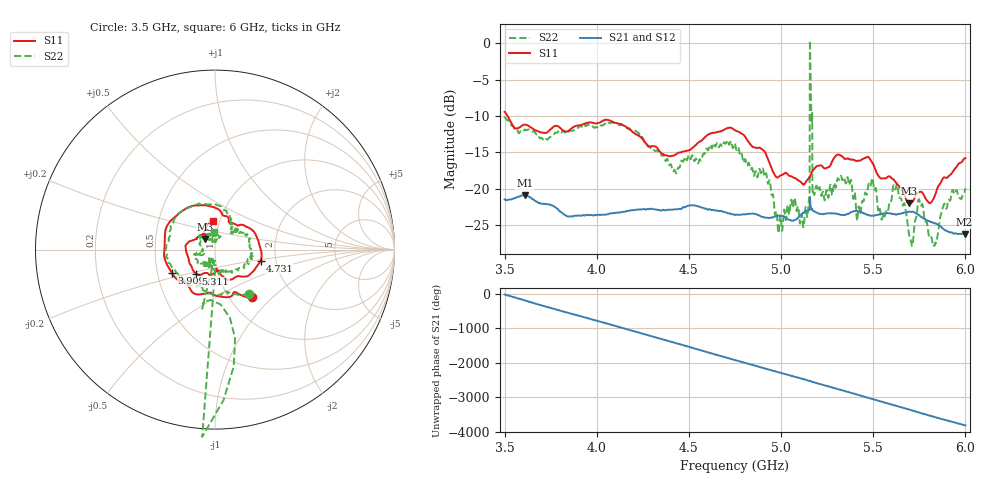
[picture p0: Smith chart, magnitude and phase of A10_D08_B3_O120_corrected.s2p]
! Created with skrf 1.9.0 (http://scikit-rf.org).
# Hz S RI R 50.0
!freq ReS11 ImS11 ReS21 ImS21 ReS12 ImS12 ReS22 ImS22
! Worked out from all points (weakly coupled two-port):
!   1601 points, 3.5 GHz to 6 GHz, reference 50 ohm
!   highest |S21| = -20.88 dB at 3.609 GHz (marker M1); lowest = -26.3 dB at 5.995 GHz (marker M2)
!   lowest |S11| = -22.0 dB at 5.695 GHz (marker M3), VSWR 1.17, Z = 44.7 + j5.27 ohm
!   |S11| at or under -10 dB: 3.516 GHz to end of sweep
!   |S22| runs from -27.9 to 0.4 dB; largest |S21 - S12| = 0.0012
!   S11 on the Smith chart (normalised r, x): 3.5 GHz: 1.27, -0.76; 3.909 GHz: 0.60, -0.17; 4.731 GHz: 1.66, -0.22; 5.311 GHz: 0.78, -0.22; 6 GHz: 0.93, +0.31
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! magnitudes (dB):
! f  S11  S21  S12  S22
! 3.5 GHz  -9.4  -21.5  -21.5  -10.1
! 3.609 GHz  -11.2  -20.9  -20.9  -11.8
! 3.909 GHz  -11.3  -23.7  -23.7  -11.3
! 3.917 GHz  -11.2  -23.7  -23.7  -11.5
! 4.334 GHz  -14.6  -22.9  -22.9  -14.9
! 4.731 GHz  -11.7  -23.5  -23.5  -13.6
! 4.75 GHz  -12.0  -23.6  -23.5  -13.8
! 4.911 GHz  -14.9  -23.9  -23.9  -18.3
! 4.995 GHz  -18.2  -23.7  -23.7  -23.7
! 5.133 GHz  -19.1  -23.1  -23.1  -22.5
! 5.167 GHz  -17.7  -22.8  -22.7  -10.5
! 5.183 GHz  -17.2  -23.1  -23.1  -20.6
! 5.311 GHz  -15.3  -23.5  -23.5  -18.7
! 5.42 GHz  -16.2  -23.1  -23.2  -22.4
! 5.487 GHz  -16.1  -23.7  -23.7  -19.4
! 5.584 GHz  -18.3  -23.4  -23.4  -22.4
! 5.623 GHz  -19.1  -23.6  -23.6  -19.8
! 5.695 GHz  -22.0  -23.1  -23.1  -26.4
! 5.755 GHz  -20.4  -23.8  -23.7  -22.1
! 5.834 GHz  -21.0  -24.8  -24.7  -27.6
! 5.995 GHz  -15.8  -26.3  -26.2  -20.5
! 6 GHz  -15.8  -26.2  -26.2  -19.9
